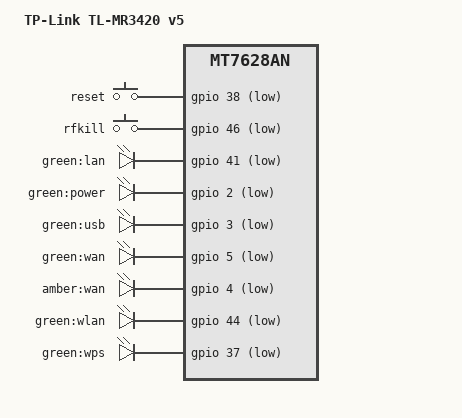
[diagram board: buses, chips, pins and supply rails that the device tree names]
#include "mt7628an_tplink_8m.dtsi"

/ {
	compatible = "tplink,tl-mr3420-v5", "mediatek,mt7628an-soc";
	model = "TP-Link TL-MR3420 v5";

	aliases {
		led-boot = &led_power;
		led-failsafe = &led_power;
		led-running = &led_power;
		led-upgrade = &led_power;
	};

	keys {
		compatible = "gpio-keys";

		reset {
			label = "reset";
			gpios = <&gpio 38 GPIO_ACTIVE_LOW>;
			linux,code = <KEY_RESTART>;
		};

		rfkill {
			label = "rfkill";
			gpios = <&gpio 46 GPIO_ACTIVE_LOW>;
			linux,code = <KEY_RFKILL>;
		};
	};

	leds {
		compatible = "gpio-leds";

		lan {
			label = "green:lan";
			gpios = <&gpio 41 GPIO_ACTIVE_LOW>;
		};

		led_power: power {
			label = "green:power";
			gpios = <&gpio 2 GPIO_ACTIVE_LOW>;
		};

		usb {
			label = "green:usb";
			gpios = <&gpio 3 GPIO_ACTIVE_LOW>;
			trigger-sources = <&ohci_port1>, <&ehci_port1>;
			linux,default-trigger = "usbport";
		};

		wan {
			label = "green:wan";
			gpios = <&gpio 5 GPIO_ACTIVE_LOW>;
		};

		wan_amber {
			label = "amber:wan";
			gpios = <&gpio 4 GPIO_ACTIVE_LOW>;
		};

		wlan {
			label = "green:wlan";
			gpios = <&gpio 44 GPIO_ACTIVE_LOW>;
		};

		wps {
			label = "green:wps";
			gpios = <&gpio 37 GPIO_ACTIVE_LOW>;
		};
	};
};

&state_default {
	gpio {
		groups = "i2c", "i2s", "p2led_an", "refclk", "uart1", "wdt", "wled_an";
		function = "gpio";
	};
};

&esw {
	mediatek,portmap = <0x3e>;
};
